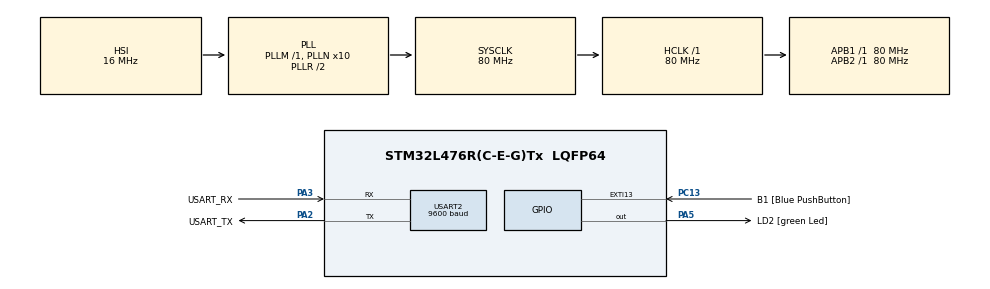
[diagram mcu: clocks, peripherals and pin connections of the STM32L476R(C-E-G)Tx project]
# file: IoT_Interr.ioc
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ADC1.Channel-0\#ChannelRegularConversion=ADC_CHANNEL_VREFINT
ADC1.NbrOfConversionFlag=1
ADC1.OffsetNumber-0\#ChannelRegularConversion=ADC_OFFSET_NONE
ADC1.Rank-0\#ChannelRegularConversion=1
ADC1.SamplingTime-0\#ChannelRegularConversion=ADC_SAMPLETIME_2CYCLES_5
ADC1.master=1
Mcu.Family=STM32L4
Mcu.Name=STM32L476R(C-E-G)Tx
Mcu.Package=LQFP64
NVIC.PriorityGroup=NVIC_PRIORITYGROUP_4
NVIC.USART2_IRQn=true\:0\:0\:false\:false\:true\:true\:true\:true
PA13\ (JTMS-SWDIO).GPIO_Label=TMS
PA13\ (JTMS-SWDIO).Mode=Serial_Wire
PA13\ (JTMS-SWDIO).Signal=SYS_JTMS-SWDIO
PA14\ (JTCK-SWCLK).GPIO_Label=TCK
PA14\ (JTCK-SWCLK).Mode=Serial_Wire
PA14\ (JTCK-SWCLK).Signal=SYS_JTCK-SWCLK
PA2.GPIO_Label=USART_TX
PA2.GPIO_Mode=GPIO_MODE_AF_PP
PA2.GPIO_PuPd=GPIO_NOPULL
PA2.GPIO_Speed=GPIO_SPEED_FREQ_VERY_HIGH
PA2.Mode=Asynchronous
PA2.Signal=USART2_TX
PA3.GPIO_Label=USART_RX
PA3.GPIO_Mode=GPIO_MODE_AF_PP
PA3.GPIO_PuPd=GPIO_NOPULL
PA3.GPIO_Speed=GPIO_SPEED_FREQ_VERY_HIGH
PA3.Mode=Asynchronous
PA3.Signal=USART2_RX
PA5.GPIO_Label=LD2 [green Led]
PA5.GPIO_ModeDefaultOutputPP=GPIO_MODE_OUTPUT_PP
PA5.GPIO_PuPd=GPIO_NOPULL
PA5.GPIO_Speed=GPIO_SPEED_FREQ_LOW
PA5.Signal=GPIO_Output
PB3\ (JTDO-TRACESWO).GPIO_Label=SWO
PB3\ (JTDO-TRACESWO).Signal=SYS_JTDO-SWO
PC13.GPIO_Label=B1 [Blue PushButton]
PC13.GPIO_ModeDefaultEXTI=GPIO_MODE_IT_FALLING
PC13.GPIO_PuPd=GPIO_NOPULL
PC13.Signal=GPXTI13
PC14-OSC32_IN\ (PC14).Mode=LSE-External-Oscillator
PC14-OSC32_IN\ (PC14).Signal=RCC_OSC32_IN
PC15-OSC32_OUT\ (PC15).Mode=LSE-External-Oscillator
PC15-OSC32_OUT\ (PC15).Signal=RCC_OSC32_OUT
PH0-OSC_IN\ (PH0).Signal=RCC_OSC_IN
PH1-OSC_OUT\ (PH1).Signal=RCC_OSC_OUT
ProjectManager.HeapSize=0x200
ProjectManager.StackSize=0x400
ProjectManager.TargetToolchain=STM32CubeIDE
RCC.ADCFreq_Value=64000000
RCC.AHBFreq_Value=80000000
RCC.APB1Freq_Value=80000000
RCC.APB1TimFreq_Value=80000000
RCC.APB2Freq_Value=80000000
RCC.APB2TimFreq_Value=80000000
RCC.CortexFreq_Value=80000000
RCC.HCLKFreq_Value=80000000
RCC.HSE_VALUE=8000000
RCC.HSI_VALUE=16000000
RCC.MSI_VALUE=4000000
RCC.PLLN=10
RCC.PLLSourceVirtual=RCC_PLLSOURCE_HSI
RCC.PREFETCH_ENABLE=1
RCC.SYSCLKFreq_VALUE=80000000
RCC.SYSCLKSource=RCC_SYSCLKSOURCE_PLLCLK
RCC.USBFreq_Value=64000000
RCC.VCOOutputFreq_Value=160000000
USART2.BaudRate=9600
USART2.VirtualMode-Asynchronous=VM_ASYNC
VP_ADC1_Vref_Input.Mode=IN-Vrefint
board=NUCLEO-L476RG

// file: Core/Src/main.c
/* USER CODE BEGIN Header */
/**
  ******************************************************************************
  * @file           : main.c
  * @brief          : Main program body
  ******************************************************************************
  * @attention
  *
  * Copyright (c) 2024 STMicroelectronics.
  * All rights reserved.
  *
  * This software is licensed under terms that can be found in the LICENSE file
  * in the root directory of this software component.
  * If no LICENSE file comes with this software, it is provided AS-IS.
  *
  ******************************************************************************
  */
/* USER CODE END Header */
#include "main.h"

/* USER CODE BEGIN Includes */
#include <string.h>
#include <stdio.h>
/* USER CODE END Includes */

ADC_HandleTypeDef hadc1;

UART_HandleTypeDef huart2;

/* USER CODE BEGIN PV */
int fastmode = 0;
int slowmode = 0;
int stopall = 0;
uint8_t Received;
/* USER CODE END PV */

void SystemClock_Config(void);
static void MX_GPIO_Init(void);
static void MX_USART2_UART_Init(void);
static void MX_ADC1_Init(void);
/* USER CODE BEGIN PFP */

void send_voltage_uart(float voltage, uint32_t adc_value) {
    char uart_buffer[50];
    sprintf(uart_buffer, "%.3f,%lu\r\n", voltage, adc_value);
    HAL_UART_Transmit(&huart2, (uint8_t*)uart_buffer, strlen(uart_buffer), HAL_MAX_DELAY);
}

int __io_putchar(int ch)
{
	if (ch == '\n') {
		uint8_t ch2 = '\r';
		HAL_UART_Transmit(&huart2, &ch2, 1, HAL_MAX_DELAY);
	}
	HAL_UART_Transmit(&huart2, (uint8_t*)&ch, 1, HAL_MAX_DELAY);
	return 1;
}
/* USER CODE END PFP */

int main(void)
{

  /* MCU Configuration--------------------------------------------------------*/

  /* Reset of all peripherals, Initializes the Flash interface and the Systick. */
  HAL_Init();

  /* Configure the system clock */
  SystemClock_Config();

  /* Initialize all configured peripherals */
  MX_GPIO_Init();
  MX_USART2_UART_Init();
  MX_ADC1_Init();
  /* USER CODE BEGIN 2 */
  HAL_ADCEx_Calibration_Start(&hadc1, ADC_SINGLE_ENDED);
  HAL_UART_Receive_IT(&huart2, &Received, 1);
  /* USER CODE END 2 */

  /* Infinite loop */
  /* USER CODE BEGIN WHILE */
  while (1)
  {

	  if(fastmode == 1)
	  		 {
	  			HAL_ADC_Start(&hadc1);
	  			HAL_ADC_PollForConversion(&hadc1, HAL_MAX_DELAY);
	  		    uint32_t valueADC = HAL_ADC_GetValue(&hadc1);
	  			float voltage = 3.3f * valueADC / 4096.0f;
	  		    printf("ADC = %lu (%.3f V)\n", valueADC, voltage);
	  			HAL_Delay(100);
	  		 }

	  		 if(slowmode == 1)
	  		 {
	  			 HAL_ADC_Start(&hadc1);
	  			 HAL_ADC_PollForConversion(&hadc1, HAL_MAX_DELAY);
	  			 uint32_t valueADC = HAL_ADC_GetValue(&hadc1);
	  			 float voltage = 3.3f * valueADC / 4096.0f;
	  			 printf("ADC = %lu (%.3f V)\n", valueADC, voltage);
	  			 HAL_Delay(500);
	  		 }

	  		 HAL_Delay(20);
    /* USER CODE END WHILE */

  }
}

void SystemClock_Config(void)
{
  RCC_OscInitTypeDef RCC_OscInitStruct = {0};
  RCC_ClkInitTypeDef RCC_ClkInitStruct = {0};

  /** Configure the main internal regulator output voltage
  */
  if (HAL_PWREx_ControlVoltageScaling(PWR_REGULATOR_VOLTAGE_SCALE1) != HAL_OK)
  {
    Error_Handler();
  }

  /** Initializes the RCC Oscillators according to the specified parameters
  * in the RCC_OscInitTypeDef structure.
  */
  RCC_OscInitStruct.OscillatorType = RCC_OSCILLATORTYPE_HSI;
  RCC_OscInitStruct.HSIState = RCC_HSI_ON;
  RCC_OscInitStruct.HSICalibrationValue = RCC_HSICALIBRATION_DEFAULT;
  RCC_OscInitStruct.PLL.PLLState = RCC_PLL_ON;
  RCC_OscInitStruct.PLL.PLLSource = RCC_PLLSOURCE_HSI;
  RCC_OscInitStruct.PLL.PLLM = 1;
  RCC_OscInitStruct.PLL.PLLN = 10;
  RCC_OscInitStruct.PLL.PLLP = RCC_PLLP_DIV7;
  RCC_OscInitStruct.PLL.PLLQ = RCC_PLLQ_DIV2;
  RCC_OscInitStruct.PLL.PLLR = RCC_PLLR_DIV2;
  if (HAL_RCC_OscConfig(&RCC_OscInitStruct) != HAL_OK)
  {
    Error_Handler();
  }

  /** Initializes the CPU, AHB and APB buses clocks
  */
  RCC_ClkInitStruct.ClockType = RCC_CLOCKTYPE_HCLK|RCC_CLOCKTYPE_SYSCLK
                              |RCC_CLOCKTYPE_PCLK1|RCC_CLOCKTYPE_PCLK2;
  RCC_ClkInitStruct.SYSCLKSource = RCC_SYSCLKSOURCE_PLLCLK;
  RCC_ClkInitStruct.AHBCLKDivider = RCC_SYSCLK_DIV1;
  RCC_ClkInitStruct.APB1CLKDivider = RCC_HCLK_DIV1;
  RCC_ClkInitStruct.APB2CLKDivider = RCC_HCLK_DIV1;

  if (HAL_RCC_ClockConfig(&RCC_ClkInitStruct, FLASH_LATENCY_4) != HAL_OK)
  {
    Error_Handler();
  }
}

static void MX_ADC1_Init(void)
{

  ADC_MultiModeTypeDef multimode = {0};
  ADC_ChannelConfTypeDef sConfig = {0};

  /** Common config
  */
  hadc1.Instance = ADC1;
  hadc1.Init.ClockPrescaler = ADC_CLOCK_ASYNC_DIV1;
  hadc1.Init.Resolution = ADC_RESOLUTION_12B;
  hadc1.Init.DataAlign = ADC_DATAALIGN_RIGHT;
  hadc1.Init.ScanConvMode = ADC_SCAN_DISABLE;
  hadc1.Init.EOCSelection = ADC_EOC_SINGLE_CONV;
  hadc1.Init.LowPowerAutoWait = DISABLE;
  hadc1.Init.ContinuousConvMode = DISABLE;
  hadc1.Init.NbrOfConversion = 1;
  hadc1.Init.DiscontinuousConvMode = DISABLE;
  hadc1.Init.ExternalTrigConv = ADC_SOFTWARE_START;
  hadc1.Init.ExternalTrigConvEdge = ADC_EXTERNALTRIGCONVEDGE_NONE;
  hadc1.Init.DMAContinuousRequests = DISABLE;
  hadc1.Init.Overrun = ADC_OVR_DATA_PRESERVED;
  hadc1.Init.OversamplingMode = DISABLE;
  if (HAL_ADC_Init(&hadc1) != HAL_OK)
  {
    Error_Handler();
  }

  /** Configure the ADC multi-mode
  */
  multimode.Mode = ADC_MODE_INDEPENDENT;
  if (HAL_ADCEx_MultiModeConfigChannel(&hadc1, &multimode) != HAL_OK)
  {
    Error_Handler();
  }

  /** Configure Regular Channel
  */
  sConfig.Channel = ADC_CHANNEL_VREFINT;
  sConfig.Rank = ADC_REGULAR_RANK_1;
  sConfig.SamplingTime = ADC_SAMPLETIME_2CYCLES_5;
  sConfig.SingleDiff = ADC_SINGLE_ENDED;
  sConfig.OffsetNumber = ADC_OFFSET_NONE;
  sConfig.Offset = 0;
  if (HAL_ADC_ConfigChannel(&hadc1, &sConfig) != HAL_OK)
  {
    Error_Handler();
  }

}

static void MX_USART2_UART_Init(void)
{

  huart2.Instance = USART2;
  huart2.Init.BaudRate = 9600;
  huart2.Init.WordLength = UART_WORDLENGTH_8B;
  huart2.Init.StopBits = UART_STOPBITS_1;
  huart2.Init.Parity = UART_PARITY_NONE;
  huart2.Init.Mode = UART_MODE_TX_RX;
  huart2.Init.HwFlowCtl = UART_HWCONTROL_NONE;
  huart2.Init.OverSampling = UART_OVERSAMPLING_16;
  huart2.Init.OneBitSampling = UART_ONE_BIT_SAMPLE_DISABLE;
  huart2.AdvancedInit.AdvFeatureInit = UART_ADVFEATURE_NO_INIT;
  if (HAL_UART_Init(&huart2) != HAL_OK)
  {
    Error_Handler();
  }

}

static void MX_GPIO_Init(void)
{
  GPIO_InitTypeDef GPIO_InitStruct = {0};

  /* GPIO Ports Clock Enable */
  __HAL_RCC_GPIOC_CLK_ENABLE();
  __HAL_RCC_GPIOH_CLK_ENABLE();
  __HAL_RCC_GPIOA_CLK_ENABLE();
  __HAL_RCC_GPIOB_CLK_ENABLE();

  /*Configure GPIO pin Output Level */
  HAL_GPIO_WritePin(LD2_GPIO_Port, LD2_Pin, GPIO_PIN_RESET);

  /*Configure GPIO pin : B1_Pin */
  GPIO_InitStruct.Pin = B1_Pin;
  GPIO_InitStruct.Mode = GPIO_MODE_IT_FALLING;
  GPIO_InitStruct.Pull = GPIO_NOPULL;
  HAL_GPIO_Init(B1_GPIO_Port, &GPIO_InitStruct);

  /*Configure GPIO pin : LD2_Pin */
  GPIO_InitStruct.Pin = LD2_Pin;
  GPIO_InitStruct.Mode = GPIO_MODE_OUTPUT_PP;
  GPIO_InitStruct.Pull = GPIO_NOPULL;
  GPIO_InitStruct.Speed = GPIO_SPEED_FREQ_LOW;
  HAL_GPIO_Init(LD2_GPIO_Port, &GPIO_InitStruct);

}

/* USER CODE BEGIN 4 */
void HAL_UART_RxCpltCallback(UART_HandleTypeDef *huart) {

	uint8_t Data[50]; // Tablica przechowująca wysyłaną wiadomość.
	uint16_t size = 0; // Rozmiar wysyłanej wiadomości

	// Odebrany znak zostaje przekonwertowany na liczbę całkowitą i sprawdzony za pomocą instrukcji warunkowej
	switch (Received) {

	case 'm': // Jeżeli odebrany zostanie znak 'm'
		HAL_ADC_Start(&hadc1);
						HAL_ADC_PollForConversion(&hadc1, HAL_MAX_DELAY);
						uint32_t valueADC = HAL_ADC_GetValue(&hadc1);
						float voltage = 3.3f * valueADC / 4096.0f;
						printf("ADC = %lu (%.3f V)\n", valueADC, voltage);
						fastmode = 0;
						slowmode = 0;
						stopall = 0;
					    break;
	case 'f': // Jeżeli odebrany zostanie znak 'f'
		fastmode = 1;
		slowmode = 0;
		stopall = 0;
		break;

	case 's': // Jeżeli odebrany zostanie znak 's'
		 slowmode = 1;
		 fastmode = 0;
		 stopall = 0;
		break;

    case 'b': // Jeżeli odebrany zostanie znak 'b'
    	stopall = 1;
    	fastmode = 0;
    	slowmode = 0;
		break;

	default: // Jeżeli odebrano nieobsługiwany znak
		size = sprintf(Data, "Odebrano nieznany znak: %c\n\r", Received);
		break;
	}

	HAL_UART_Transmit_IT(&huart2, Data, size); // Rozpoczęcie nadawania danych z wykorzystaniem przerwań
	HAL_UART_Receive_IT(&huart2, &Received, 1); // Ponowne włączenie nasłuchiwania
}

/* USER CODE END 4 */

void Error_Handler(void)
{
  __disable_irq();
  while (1)
  {
  }
}
